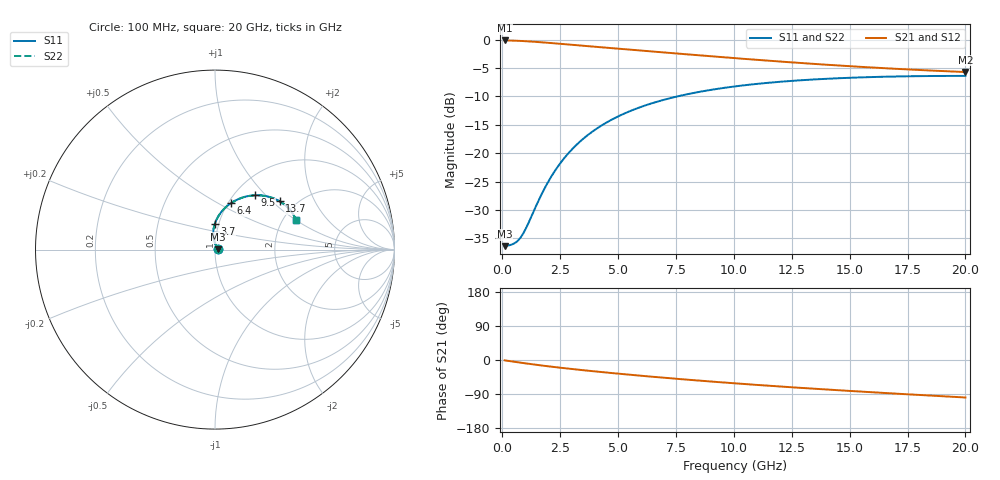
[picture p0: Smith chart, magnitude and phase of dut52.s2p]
! Touchstone file exported from HFSS 2024.1.0
!  File:  C:/UserFiles/LocalFiles/RDL_TSV_Batchsim/temp_RDL_TSV_52_1779407158.aedt
!  Generated:  08:00:53 AM May 22, 2026
!  Design:  RDL_TSV
!  Project:  temp_RDL_TSV_52_1779407158
!  Setup:  Setup1
!  Solution:  Sweep
! Variables:
!  dtsv = 8.49um
!  hbump = 3um
!  htsv = 54.72um
!  ldown = 244.22um
!  lrdl = 113.54um
!  p = 40
!  p1 = 48.89um
!  rhole = 10um
!  subl = 1186.82um
!  t = 450um
!  tdown = 2.01um
!  trdl = 4.72um
!  viad = 10um
!  wdown = 10.43um
!  wrdl = 13.65um
!  xbump = 18um
# GHz S MA R 50.000000
! Terminal data exported
! Port[1] = TM1_1_T1
! Port[2] = TM1_4_T1
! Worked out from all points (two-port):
!   200 points, 100 MHz to 20 GHz, reference 50 ohm
!   highest |S21| = -0.13 dB at 100 MHz (marker M1); lowest = -5.7 dB at 20 GHz (marker M2)
!   |S21| within 3 dB of the highest: start of sweep to 9.681 GHz
!   lowest |S11| = -36.4 dB at 100 MHz (marker M3), VSWR 1.03, Z = 51.5 + j0.181 ohm
!   |S11| at or under -10 dB: start of sweep to 7.549 GHz
!   |S22| runs from -36.4 to -6.4 dB; largest |S21 - S12| = 5.7e-14
!   S11 on the Smith chart (normalised r, x): 100 MHz: 1.03, +0.00; 3.7 GHz: 0.96, +0.28; 6.4 GHz: 1.03, +0.58; 9.5 GHz: 1.23, +0.87; 13.7 GHz: 1.65, +1.12; 20 GHz: 2.35, +0.99
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0.1  0.0152 6.7  0.9846 -0.9  0.9846 -0.9  0.0152 6.7
! Gamma 0 0 0 0
! Port Impedance 50 0 50 0
0.5  0.01601 33.8  0.9808 -4.5  0.9808 -4.5  0.01601 33.8
0.7  0.0172 48.6  0.9772 -6.3  0.9772 -6.3  0.0172 48.6
0.8  0.01822 56.0  0.9751 -7.1  0.9751 -7.1  0.01822 56.0
1  0.02138 69.5  0.9702 -8.9  0.9702 -8.9  0.02137 69.5
1.8  0.04791 95.1  0.9452 -15.3  0.9452 -15.3  0.0479 95.1
2.2  0.06645 97.2  0.931 -18.2  0.931 -18.2  0.06644 97.2
2.8  0.09715 95.8  0.9092 -22.4  0.9092 -22.4  0.09713 95.8
3.5  0.1344 91.6  0.8842 -27.0  0.8842 -27.0  0.1344 91.6
3.7  0.145 90.2  0.8772 -28.2  0.8772 -28.2  0.145 90.2
4.3  0.1763 85.8  0.8566 -31.9  0.8566 -31.9  0.1763 85.8
4.9  0.2061 81.4  0.8368 -35.4  0.8368 -35.4  0.2061 81.4
5.6  0.2388 76.4  0.8143 -39.4  0.8143 -39.4  0.2388 76.5
6.4  0.273 71.1  0.7895 -43.7  0.7895 -43.7  0.273 71.1
6.8  0.2888 68.6  0.7774 -45.9  0.7774 -45.9  0.2888 68.6
8.1  0.3345 61.0  0.7397 -52.5  0.7397 -52.5  0.3346 61.0
9.5  0.3746 53.9  0.7017 -59.1  0.7017 -59.1  0.3746 53.9
10.1  0.3891 51.0  0.6864 -61.8  0.6864 -61.8  0.3892 51.0
13.4  0.4459 37.9  0.6132 -75.6  0.6132 -75.6  0.4459 37.9
13.7  0.4494 36.9  0.6075 -76.7  0.6075 -76.7  0.4494 36.9
16.7  0.473 27.8  0.5582 -87.7  0.5582 -87.7  0.473 27.8
20  0.4799 19.7  0.519 -99.0  0.519 -99.0  0.4799 19.8
